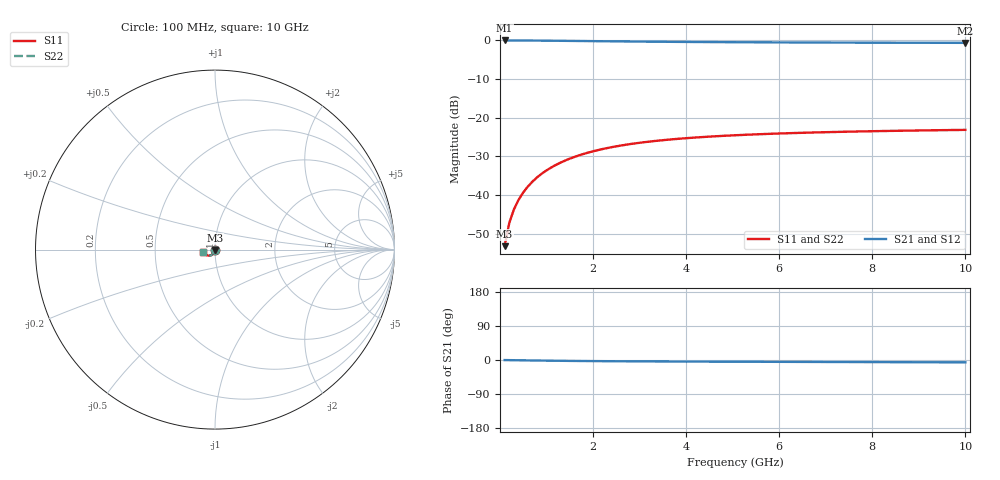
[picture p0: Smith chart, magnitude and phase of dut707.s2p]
! Touchstone file exported from HFSS 2024.1.0
!  File:  C:/UserFiles/LocalFiles/RDL_TSV_Batchsim/temp_TSV1_707_1779866967.aedt
!  Generated:  03:35:27 PM May 27, 2026
!  Design:  TSV1
!  Project:  temp_TSV1_707_1779866967
!  Setup:  Setup1
!  Solution:  Sweep
! Variables:
!  dtsv = 14.21um
!  hbump = 3um
!  htsv = 98.03um
!  lrdl = 252.1521522um
!  p = 40
!  p1 = 55.7um
!  t = 500um
!  trdl = 3um
!  wrdl = 24.89489489um
# GHz S MA R 50.000000
! Terminal data exported
! Port[1] = TSV22_T1
! Port[2] = TSV22_T2
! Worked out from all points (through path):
!   100 points, 100 MHz to 10 GHz, reference 50 ohm
!   highest |S21| = 0.00 dB at 100 MHz (marker M1); lowest = -0.6 dB at 10 GHz (marker M2)
!   lowest |S11| = -53.3 dB at 100 MHz (marker M3), VSWR 1.00, Z = 50 - j0.217 ohm
!   |S11| at or under -10 dB: start of sweep to end of sweep
!   |S22| runs from -53.3 to -23.2 dB; largest |S21 - S12| = 1.4e-14
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0.1  0.002168 -89.5  0.9998 -0.2  0.9998 -0.2  0.002168 -89.5
! Gamma 0 0 0 0
! Port Impedance 50 0 50 0
0.2  0.004333 -92.4  0.9996 -0.4  0.9996 -0.4  0.004333 -92.4
0.3  0.006494 -94.7  0.9992 -0.5  0.9992 -0.5  0.006494 -94.7
0.4  0.008639 -96.8  0.9987 -0.7  0.9987 -0.7  0.008639 -96.8
0.5  0.01076 -98.8  0.9981 -0.9  0.9981 -0.9  0.01076 -98.8
0.6  0.01285 -100.7  0.9973 -1.1  0.9973 -1.1  0.01285 -100.7
0.7  0.0149 -102.6  0.9965 -1.2  0.9965 -1.2  0.0149 -102.6
0.8  0.01691 -104.5  0.9955 -1.4  0.9955 -1.4  0.01691 -104.5
0.9  0.01887 -106.3  0.9945 -1.5  0.9945 -1.5  0.01887 -106.3
1.1  0.02263 -109.8  0.9922 -1.8  0.9922 -1.8  0.02263 -109.8
1.4  0.02784 -114.8  0.9883 -2.2  0.9883 -2.2  0.02784 -114.8
1.6  0.03102 -117.9  0.9855 -2.5  0.9855 -2.5  0.03102 -117.9
1.8  0.03397 -120.9  0.9827 -2.7  0.9827 -2.7  0.03397 -120.9
2.1  0.03796 -125.0  0.9785 -3.0  0.9785 -3.0  0.03796 -125.0
2.5  0.04255 -129.9  0.9731 -3.3  0.9731 -3.3  0.04255 -129.9
2.9  0.04642 -134.3  0.9681 -3.5  0.9681 -3.5  0.04642 -134.3
3.4  0.05041 -139.0  0.9625 -3.8  0.9625 -3.8  0.05041 -139.0
4.2  0.05534 -145.4  0.9551 -4.2  0.9551 -4.2  0.05534 -145.4
5.1  0.05938 -151.2  0.9485 -4.5  0.9485 -4.5  0.05938 -151.2
6.7  0.0642 -159.1  0.9403 -5.1  0.9403 -5.1  0.0642 -159.1
8.4  0.06743 -165.6  0.9347 -5.7  0.9347 -5.7  0.06743 -165.6
10  0.06949 -170.5  0.931 -6.3  0.931 -6.3  0.06949 -170.5
